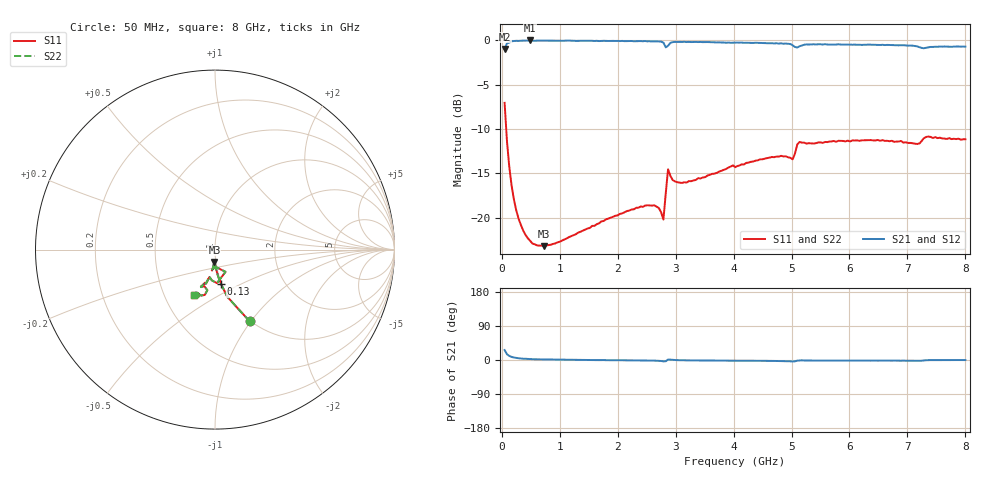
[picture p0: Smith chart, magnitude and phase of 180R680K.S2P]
!  American Technical Ceramics  Date:  3/13/98
!  One Norden Lane
!  Huntington Station,  NY.  11746-2102
!  Tel:  (516) 547-5700  Fax:  (516) 547-5748
!  Part Number  180r680k
!  Description: Porcelain, High Q, Low ESR
!  Application: Bypass, Coupling, Timing, Feedback
!  Tuning, Impedance Match, Blocking
# GHZ S DB R 50
! Freq  |S11|  S11 Ph  |S21|  S21 Ph  |S12|  S12 Ph  |S22|  S22 Ph
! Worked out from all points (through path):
!   201 points, 50 MHz to 8 GHz, reference 50 ohm
!   highest |S21| = -0.01 dB at 490 MHz (marker M1); lowest = -1.0 dB at 50 MHz (marker M2)
!   lowest |S11| = -23.2 dB at 730 MHz (marker M3), VSWR 1.15, Z = 49.2 - j6.82 ohm
!   |S11| at or under -10 dB: 77.63 MHz to end of sweep
!   |S22| runs from -23.2 to -7.0 dB; largest |S21 - S12| = 0
!   S11 on the Smith chart (normalised r, x): 50 MHz: 0.99, -0.99; 130 MHz: 0.99, -0.39; 8 GHz: 0.71, -0.38
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0.05  -7.05 -64.2  -0.97 26.3  -0.97 26.3  -7.05 -64.2
0.09  -11.32 -75.4  -0.34 15.3  -0.34 15.3  -11.32 -75.4
0.13  -14.22 -80.1  -0.26 10.8  -0.26 10.8  -14.22 -80.1
0.21  -17.94 -85.2  -0.08 6.6  -0.08 6.6  -17.94 -85.2
0.29  -20.10 -87.5  -0.06 4.7  -0.06 4.7  -20.10 -87.5
0.49  -22.61 -90.9  -0.01 2.7  -0.01 2.7  -22.61 -90.9
0.73  -23.22 -92.7  -0.04 1.4  -0.04 1.4  -23.22 -92.7
1.4  -21.47 -94.9  -0.05 0.2  -0.05 0.2  -21.47 -94.9
2.32  -18.89 -97.9  -0.09 -0.9  -0.09 -0.9  -18.89 -97.9
2.71  -18.91 -97.8  -0.12 -2.2  -0.12 -2.2  -18.91 -97.8
2.79  -20.22 -86.4  -0.25 -3.5  -0.25 -3.5  -20.22 -86.4
2.83  -17.27 -64.7  -0.79 -3.4  -0.79 -3.4  -17.27 -64.7
2.87  -14.55 -86.6  -0.60 1.3  -0.60 1.3  -14.55 -86.6
2.95  -15.76 -98.6  -0.20 0.1  -0.20 0.1  -15.76 -98.6
3.11  -16.09 -101.1  -0.18 -0.6  -0.18 -0.6  -16.09 -101.1
4.03  -14.31 -106.8  -0.25 -1.8  -0.25 -1.8  -14.31 -106.8
5.02  -13.42 -105.8  -0.56 -4.0  -0.56 -4.0  -13.42 -105.8
5.14  -11.46 -106.9  -0.66 -1.2  -0.66 -1.2  -11.46 -106.9
5.38  -11.64 -112.0  -0.44 -1.6  -0.44 -1.6  -11.64 -112.0
6.69  -11.38 -115.1  -0.52 -1.7  -0.52 -1.7  -11.38 -115.1
7.28  -11.06 -109.3  -0.89 -1.2  -0.89 -1.2  -11.06 -109.3
8  -11.16 -114.7  -0.71 -0.1  -0.71 -0.1  -11.16 -114.7
